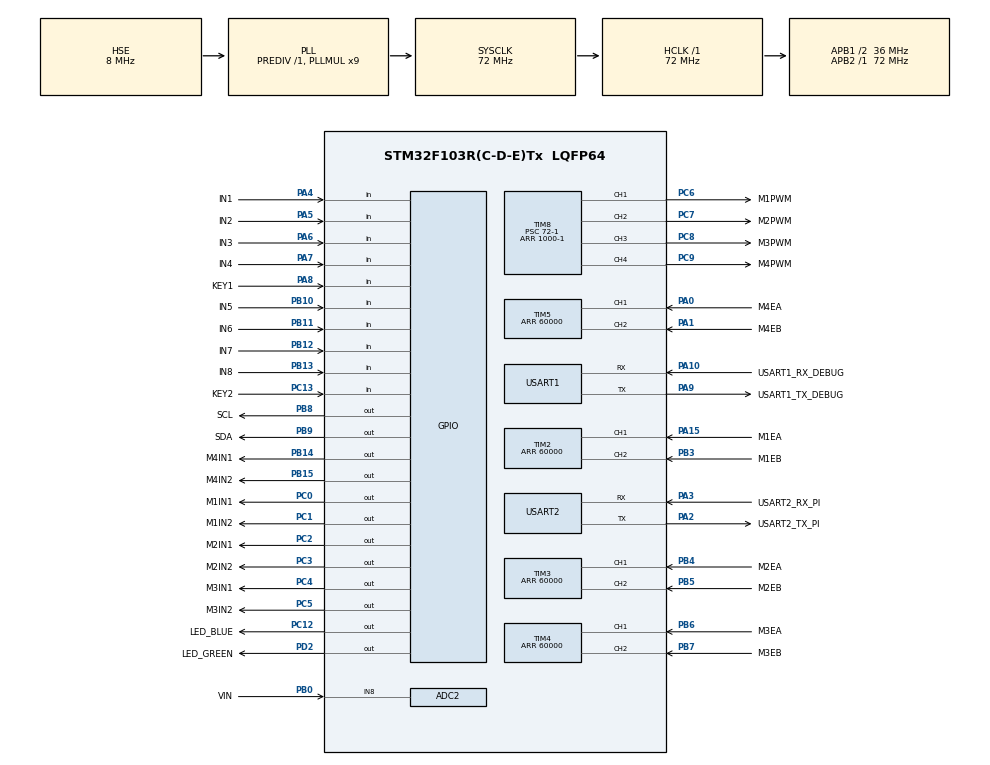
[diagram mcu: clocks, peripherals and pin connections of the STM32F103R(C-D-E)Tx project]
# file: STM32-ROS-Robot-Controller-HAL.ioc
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ADC1.Channel-0\#ChannelRegularConversion=ADC_CHANNEL_VREFINT
ADC1.NbrOfConversionFlag=1
ADC1.Rank-0\#ChannelRegularConversion=1
ADC1.SamplingTime-0\#ChannelRegularConversion=ADC_SAMPLETIME_1CYCLE_5
ADC1.master=1
ADC2.Channel-0\#ChannelRegularConversion=ADC_CHANNEL_8
ADC2.NbrOfConversion=1
ADC2.NbrOfConversionFlag=1
ADC2.Rank-0\#ChannelRegularConversion=1
ADC2.SamplingTime-0\#ChannelRegularConversion=ADC_SAMPLETIME_1CYCLE_5
FREERTOS.MEMORY_ALLOCATION=2
FREERTOS.Tasks01=defaultTask,0,128,StartDefaultTask,Default,NULL,Static,defaultTaskBuffer,defaultTaskControlBlock;KEY,-1,128,key_task,As external,NULL,Dynamic,NULL,NULL;VIN,-1,128,vin_task,As external,NULL,Dynamic,NULL,NULL;PI,2,128,pi_task,As external,NULL,Dynamic,NULL,NULL;MOVE,2,128,move_task,As external,NULL,Dynamic,NULL,NULL;IMU,1,128,imu_task,As external,NULL,Dynamic,NULL,NULL;LED,-1,128,led_task,As external,NULL,Dynamic,NULL,NULL;OTHER,0,128,other_task,As external,NULL,Dynamic,NULL,NULL;CMD,0,128,cmd_task,As external,NULL,Dynamic,NULL,NULL
FREERTOS.configTOTAL_HEAP_SIZE=10000
Mcu.Family=STM32F1
Mcu.Name=STM32F103R(C-D-E)Tx
Mcu.Package=LQFP64
NVIC.PriorityGroup=NVIC_PRIORITYGROUP_4
NVIC.TIM6_IRQn=true\:15\:0\:false\:false\:true\:false\:false\:true\:true
NVIC.TimeBase=TIM6_IRQn
NVIC.TimeBaseIP=TIM6
NVIC.USART1_IRQn=true\:5\:0\:false\:false\:true\:true\:true\:true\:true
NVIC.USART2_IRQn=true\:5\:0\:false\:false\:true\:true\:true\:true\:true
PA0-WKUP.GPIO_Label=M4EA
PA0-WKUP.Signal=S_TIM5_CH1
PA1.GPIO_Label=M4EB
PA1.Signal=S_TIM5_CH2
PA10.GPIO_Label=USART1_RX_DEBUG
PA10.Mode=Asynchronous
PA10.Signal=USART1_RX
PA13.GPIO_Label=SWDIO
PA13.Mode=Serial_Wire
PA13.Signal=SYS_JTMS-SWDIO
PA14.GPIO_Label=SWCLK
PA14.Mode=Serial_Wire
PA14.Signal=SYS_JTCK-SWCLK
PA15.GPIO_Label=M1EA
PA15.Signal=S_TIM2_CH1_ETR
PA2.GPIO_Label=USART2_TX_PI
PA2.Mode=Asynchronous
PA2.Signal=USART2_TX
PA3.GPIO_Label=USART2_RX_PI
PA3.Mode=Asynchronous
PA3.Signal=USART2_RX
PA4.GPIO_Label=IN1
PA4.GPIO_Mode=GPIO_MODE_INPUT
PA4.GPIO_PuPd=GPIO_PULLUP
PA4.Signal=GPIO_Input
PA5.GPIO_Label=IN2
PA5.GPIO_Mode=GPIO_MODE_INPUT
PA5.GPIO_PuPd=GPIO_PULLUP
PA5.Signal=GPIO_Input
PA6.GPIO_Label=IN3
PA6.GPIO_Mode=GPIO_MODE_INPUT
PA6.GPIO_PuPd=GPIO_PULLUP
PA6.Signal=GPIO_Input
PA7.GPIO_Label=IN4
PA7.GPIO_Mode=GPIO_MODE_INPUT
PA7.GPIO_PuPd=GPIO_PULLUP
PA7.Signal=GPIO_Input
PA8.GPIO_Label=KEY1
PA8.GPIO_PuPd=GPIO_PULLUP
PA8.Signal=GPIO_Input
PA9.GPIO_Label=USART1_TX_DEBUG
PA9.Mode=Asynchronous
PA9.Signal=USART1_TX
PB0.GPIO_Label=VIN
PB0.Signal=ADCx_IN8
PB10.GPIO_Label=IN5
PB10.GPIO_Mode=GPIO_MODE_INPUT
PB10.GPIO_PuPd=GPIO_PULLUP
PB10.Signal=GPIO_Input
PB11.GPIO_Label=IN6
PB11.GPIO_Mode=GPIO_MODE_INPUT
PB11.GPIO_PuPd=GPIO_PULLUP
PB11.Signal=GPIO_Input
PB12.GPIO_Label=IN7
PB12.GPIO_Mode=GPIO_MODE_INPUT
PB12.GPIO_PuPd=GPIO_PULLUP
PB12.Signal=GPIO_Input
PB13.GPIO_Label=IN8
PB13.GPIO_Mode=GPIO_MODE_INPUT
PB13.GPIO_PuPd=GPIO_PULLUP
PB13.Signal=GPIO_Input
PB14.GPIO_Label=M4IN1
PB14.GPIO_Speed=GPIO_SPEED_FREQ_HIGH
PB14.Signal=GPIO_Output
PB15.GPIO_Label=M4IN2
PB15.GPIO_Speed=GPIO_SPEED_FREQ_HIGH
PB15.Signal=GPIO_Output
PB3.GPIO_Label=M1EB
PB3.Signal=S_TIM2_CH2
PB4.GPIO_Label=M2EA
PB4.Signal=S_TIM3_CH1
PB5.GPIO_Label=M2EB
PB5.Signal=S_TIM3_CH2
PB6.GPIO_Label=M3EA
PB6.Signal=S_TIM4_CH1
PB7.GPIO_Label=M3EB
PB7.Signal=S_TIM4_CH2
PB8.GPIO_Label=SCL
PB8.GPIO_PuPd=GPIO_PULLUP
PB8.GPIO_Speed=GPIO_SPEED_FREQ_HIGH
PB8.PinState=GPIO_PIN_SET
PB8.Signal=GPIO_Output
PB9.GPIO_Label=SDA
PB9.GPIO_PuPd=GPIO_PULLUP
PB9.GPIO_Speed=GPIO_SPEED_FREQ_HIGH
PB9.PinState=GPIO_PIN_SET
PB9.Signal=GPIO_Output
PC0.GPIO_Label=M1IN1
PC0.GPIO_Speed=GPIO_SPEED_FREQ_HIGH
PC0.Signal=GPIO_Output
PC1.GPIO_Label=M1IN2
PC1.GPIO_Speed=GPIO_SPEED_FREQ_HIGH
PC1.Signal=GPIO_Output
PC12.GPIO_Label=LED_BLUE
PC12.GPIO_Speed=GPIO_SPEED_FREQ_HIGH
PC12.PinState=GPIO_PIN_SET
PC12.Signal=GPIO_Output
PC13-TAMPER-RTC.GPIO_Label=KEY2
PC13-TAMPER-RTC.GPIO_PuPd=GPIO_PULLUP
PC13-TAMPER-RTC.Signal=GPIO_Input
PC2.GPIO_Label=M2IN1
PC2.GPIO_Speed=GPIO_SPEED_FREQ_HIGH
PC2.Signal=GPIO_Output
PC3.GPIO_Label=M2IN2
PC3.GPIO_Speed=GPIO_SPEED_FREQ_HIGH
PC3.Signal=GPIO_Output
PC4.GPIO_Label=M3IN1
PC4.GPIO_Speed=GPIO_SPEED_FREQ_HIGH
PC4.Signal=GPIO_Output
PC5.GPIO_Label=M3IN2
PC5.GPIO_Speed=GPIO_SPEED_FREQ_HIGH
PC5.Signal=GPIO_Output
PC6.GPIO_Label=M1PWM
PC6.GPIO_Speed=GPIO_SPEED_FREQ_HIGH
PC6.Signal=S_TIM8_CH1
PC7.GPIO_Label=M2PWM
PC7.GPIO_Speed=GPIO_SPEED_FREQ_HIGH
PC7.Signal=S_TIM8_CH2
PC8.GPIO_Label=M3PWM
PC8.GPIO_Speed=GPIO_SPEED_FREQ_HIGH
PC8.Signal=S_TIM8_CH3
PC9.GPIO_Label=M4PWM
PC9.GPIO_Speed=GPIO_SPEED_FREQ_HIGH
PC9.Signal=S_TIM8_CH4
PD0-OSC_IN.GPIO_Label=OSCIN
PD0-OSC_IN.Mode=HSE-External-Oscillator
PD0-OSC_IN.Signal=RCC_OSC_IN
PD1-OSC_OUT.GPIO_Label=OSCOUT
PD1-OSC_OUT.Mode=HSE-External-Oscillator
PD1-OSC_OUT.Signal=RCC_OSC_OUT
PD2.GPIO_Label=LED_GREEN
PD2.GPIO_Speed=GPIO_SPEED_FREQ_HIGH
PD2.PinState=GPIO_PIN_SET
PD2.Signal=GPIO_Output
ProjectManager.HeapSize=0x200
ProjectManager.StackSize=0x400
ProjectManager.TargetToolchain=MDK-ARM V5.32
RCC.ADCPresc=RCC_ADCPCLK2_DIV6
RCC.AHBFreq_Value=72000000
RCC.APB1CLKDivider=RCC_HCLK_DIV2
RCC.APB1Freq_Value=36000000
RCC.APB1TimFreq_Value=72000000
RCC.APB2Freq_Value=72000000
RCC.APB2TimFreq_Value=72000000
RCC.HCLKFreq_Value=72000000
RCC.PLLMUL=RCC_PLL_MUL9
RCC.PLLSourceVirtual=RCC_PLLSOURCE_HSE
RCC.SYSCLKFreq_VALUE=72000000
RCC.SYSCLKSource=RCC_SYSCLKSOURCE_PLLCLK
RCC.USBFreq_Value=72000000
SH.ADCx_IN8.0=ADC2_IN8,IN8
SH.S_TIM2_CH1_ETR.0=TIM2_CH1,Encoder_Interface
SH.S_TIM2_CH2.0=TIM2_CH2,Encoder_Interface
SH.S_TIM3_CH1.0=TIM3_CH1,Encoder_Interface
SH.S_TIM3_CH2.0=TIM3_CH2,Encoder_Interface
SH.S_TIM4_CH1.0=TIM4_CH1,Encoder_Interface
SH.S_TIM4_CH2.0=TIM4_CH2,Encoder_Interface
SH.S_TIM5_CH1.0=TIM5_CH1,Encoder_Interface
SH.S_TIM5_CH2.0=TIM5_CH2,Encoder_Interface
SH.S_TIM8_CH1.0=TIM8_CH1,PWM Generation1 CH1
SH.S_TIM8_CH2.0=TIM8_CH2,PWM Generation2 CH2
SH.S_TIM8_CH3.0=TIM8_CH3,PWM Generation3 CH3
SH.S_TIM8_CH4.0=TIM8_CH4,PWM Generation4 CH4
TIM2.AutoReloadPreload=TIM_AUTORELOAD_PRELOAD_DISABLE
TIM2.EncoderMode=TIM_ENCODERMODE_TI12
TIM2.Period=60000
TIM3.EncoderMode=TIM_ENCODERMODE_TI12
TIM3.Period=60000
TIM4.EncoderMode=TIM_ENCODERMODE_TI12
TIM4.Period=60000
TIM5.EncoderMode=TIM_ENCODERMODE_TI12
TIM5.Period=60000
TIM8.Channel-PWM\ Generation1\ CH1=TIM_CHANNEL_1
TIM8.Channel-PWM\ Generation2\ CH2=TIM_CHANNEL_2
TIM8.Channel-PWM\ Generation3\ CH3=TIM_CHANNEL_3
TIM8.Channel-PWM\ Generation4\ CH4=TIM_CHANNEL_4
TIM8.Period=1000-1
TIM8.Prescaler=72-1
USART1.VirtualMode=VM_ASYNC
USART2.VirtualMode=VM_ASYNC
VP_ADC1_TempSens_Input.Mode=IN-TempSens
VP_ADC1_Vref_Input.Mode=IN-Vrefint
VP_FREERTOS_VS_CMSIS_V1.Mode=CMSIS_V1
VP_SYS_VS_tim6.Mode=TIM6
VP_TIM8_VS_ClockSourceINT.Mode=Internal
board=custom

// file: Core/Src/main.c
/* USER CODE BEGIN Header */
/**
  ******************************************************************************
  * @file           : main.c
  * @brief          : Main program body
  ******************************************************************************
  * @attention
  *
  * Copyright (c) 2022 STMicroelectronics.
  * All rights reserved.
  *
  * This software is licensed under terms that can be found in the LICENSE file
  * in the root directory of this software component.
  * If no LICENSE file comes with this software, it is provided AS-IS.
  *
  ******************************************************************************
  */
/* USER CODE END Header */
#include "main.h"
#include "cmsis_os.h"
#include "adc.h"
#include "tim.h"
#include "usart.h"
#include "gpio.h"

/* USER CODE BEGIN Includes */
#include "bsp_imu.h"
#include "bsp_delay.h"
#include "bsp_usart.h"
#include "bsp_vin.h"
#include "bsp_led.h"
#include "bsp_motor.h"
#include "bsp_encoder.h"
#include "bsp_other.h"

#define LOG_TAG    "MAIN"
#include "bsp_log.h"

/* USER CODE END Includes */

void SystemClock_Config(void);
void MX_FREERTOS_Init(void);

int main(void)
{

  /* MCU Configuration--------------------------------------------------------*/

  /* Reset of all peripherals, Initializes the Flash interface and the Systick. */
  HAL_Init();

  /* Configure the system clock */
  SystemClock_Config();

  /* Initialize all configured peripherals */
  MX_GPIO_Init();
  MX_USART1_UART_Init();
  MX_USART2_UART_Init();
  MX_TIM8_Init();
  MX_TIM2_Init();
  MX_TIM3_Init();
  MX_TIM4_Init();
  MX_TIM5_Init();
  MX_ADC2_Init();
  MX_ADC1_Init();
  /* USER CODE BEGIN 2 */
	Buddha_Bless();
//	Delay_Init();
	Log_Init();
	Motor_Init();
	Encoder_Init();
	USART_Init();

  /* USER CODE END 2 */

  /* Call init function for freertos objects (in freertos.c) */
  MX_FREERTOS_Init();

  /* Start scheduler */
  osKernelStart();

  /* We should never get here as control is now taken by the scheduler */
  /* Infinite loop */
  while (1)
  {

  }
}

void SystemClock_Config(void)
{
  RCC_OscInitTypeDef RCC_OscInitStruct = {0};
  RCC_ClkInitTypeDef RCC_ClkInitStruct = {0};
  RCC_PeriphCLKInitTypeDef PeriphClkInit = {0};

  /** Initializes the RCC Oscillators according to the specified parameters
  * in the RCC_OscInitTypeDef structure.
  */
  RCC_OscInitStruct.OscillatorType = RCC_OSCILLATORTYPE_HSE;
  RCC_OscInitStruct.HSEState = RCC_HSE_ON;
  RCC_OscInitStruct.HSEPredivValue = RCC_HSE_PREDIV_DIV1;
  RCC_OscInitStruct.HSIState = RCC_HSI_ON;
  RCC_OscInitStruct.PLL.PLLState = RCC_PLL_ON;
  RCC_OscInitStruct.PLL.PLLSource = RCC_PLLSOURCE_HSE;
  RCC_OscInitStruct.PLL.PLLMUL = RCC_PLL_MUL9;
  if (HAL_RCC_OscConfig(&RCC_OscInitStruct) != HAL_OK)
  {
    Error_Handler();
  }

  /** Initializes the CPU, AHB and APB buses clocks
  */
  RCC_ClkInitStruct.ClockType = RCC_CLOCKTYPE_HCLK|RCC_CLOCKTYPE_SYSCLK
                              |RCC_CLOCKTYPE_PCLK1|RCC_CLOCKTYPE_PCLK2;
  RCC_ClkInitStruct.SYSCLKSource = RCC_SYSCLKSOURCE_PLLCLK;
  RCC_ClkInitStruct.AHBCLKDivider = RCC_SYSCLK_DIV1;
  RCC_ClkInitStruct.APB1CLKDivider = RCC_HCLK_DIV2;
  RCC_ClkInitStruct.APB2CLKDivider = RCC_HCLK_DIV1;

  if (HAL_RCC_ClockConfig(&RCC_ClkInitStruct, FLASH_LATENCY_2) != HAL_OK)
  {
    Error_Handler();
  }
  PeriphClkInit.PeriphClockSelection = RCC_PERIPHCLK_ADC;
  PeriphClkInit.AdcClockSelection = RCC_ADCPCLK2_DIV6;
  if (HAL_RCCEx_PeriphCLKConfig(&PeriphClkInit) != HAL_OK)
  {
    Error_Handler();
  }
}

void HAL_TIM_PeriodElapsedCallback(TIM_HandleTypeDef *htim)
{
  if (htim->Instance == TIM6) {
    HAL_IncTick();
  }
}

void Error_Handler(void)
{
  __disable_irq();
  while (1)
  {
  }
}

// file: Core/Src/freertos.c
/* USER CODE BEGIN Header */
/**
  ******************************************************************************
  * File Name          : freertos.c
  * Description        : Code for freertos applications
  ******************************************************************************
  * @attention
  *
  * Copyright (c) 2022 STMicroelectronics.
  * All rights reserved.
  *
  * This software is licensed under terms that can be found in the LICENSE file
  * in the root directory of this software component.
  * If no LICENSE file comes with this software, it is provided AS-IS.
  *
  ******************************************************************************
  */
/* USER CODE END Header */

#include "FreeRTOS.h"
#include "task.h"
#include "main.h"
#include "cmsis_os.h"

osThreadId defaultTaskHandle;
uint32_t defaultTaskBuffer[ 128 ];
osStaticThreadDef_t defaultTaskControlBlock;
osThreadId KEYHandle;
osThreadId VINHandle;
osThreadId PIHandle;
osThreadId MOVEHandle;
osThreadId IMUHandle;
osThreadId LEDHandle;
osThreadId OTHERHandle;
osThreadId CMDHandle;

void StartDefaultTask(void const * argument);
extern void key_task(void const * argument);
extern void vin_task(void const * argument);
extern void pi_task(void const * argument);
extern void move_task(void const * argument);
extern void imu_task(void const * argument);
extern void led_task(void const * argument);
extern void other_task(void const * argument);
extern void cmd_task(void const * argument);

void MX_FREERTOS_Init(void); /* (MISRA C 2004 rule 8.1) */

/* GetIdleTaskMemory prototype (linked to static allocation support) */
void vApplicationGetIdleTaskMemory( StaticTask_t **ppxIdleTaskTCBBuffer, StackType_t **ppxIdleTaskStackBuffer, uint32_t *pulIdleTaskStackSize );

/* USER CODE BEGIN GET_IDLE_TASK_MEMORY */
static StaticTask_t xIdleTaskTCBBuffer;
static StackType_t xIdleStack[configMINIMAL_STACK_SIZE];

void vApplicationGetIdleTaskMemory( StaticTask_t **ppxIdleTaskTCBBuffer, StackType_t **ppxIdleTaskStackBuffer, uint32_t *pulIdleTaskStackSize )
{
  *ppxIdleTaskTCBBuffer = &xIdleTaskTCBBuffer;
  *ppxIdleTaskStackBuffer = &xIdleStack[0];
  *pulIdleTaskStackSize = configMINIMAL_STACK_SIZE;
  /* place for user code */
}
/* USER CODE END GET_IDLE_TASK_MEMORY */

void MX_FREERTOS_Init(void) {

  /* Create the thread(s) */
  /* definition and creation of defaultTask */
  osThreadStaticDef(defaultTask, StartDefaultTask, osPriorityNormal, 0, 128, defaultTaskBuffer, &defaultTaskControlBlock);
  defaultTaskHandle = osThreadCreate(osThread(defaultTask), NULL);

  /* definition and creation of KEY */
  osThreadDef(KEY, key_task, osPriorityBelowNormal, 0, 128);
  KEYHandle = osThreadCreate(osThread(KEY), NULL);

  /* definition and creation of VIN */
  osThreadDef(VIN, vin_task, osPriorityBelowNormal, 0, 128);
  VINHandle = osThreadCreate(osThread(VIN), NULL);

  /* definition and creation of PI */
  osThreadDef(PI, pi_task, osPriorityHigh, 0, 128);
  PIHandle = osThreadCreate(osThread(PI), NULL);

  /* definition and creation of MOVE */
  osThreadDef(MOVE, move_task, osPriorityHigh, 0, 128);
  MOVEHandle = osThreadCreate(osThread(MOVE), NULL);

  /* definition and creation of IMU */
  osThreadDef(IMU, imu_task, osPriorityAboveNormal, 0, 128);
  IMUHandle = osThreadCreate(osThread(IMU), NULL);

  /* definition and creation of LED */
  osThreadDef(LED, led_task, osPriorityBelowNormal, 0, 128);
  LEDHandle = osThreadCreate(osThread(LED), NULL);

  /* definition and creation of OTHER */
  osThreadDef(OTHER, other_task, osPriorityNormal, 0, 128);
  OTHERHandle = osThreadCreate(osThread(OTHER), NULL);

  /* definition and creation of CMD */
  osThreadDef(CMD, cmd_task, osPriorityNormal, 0, 128);
  CMDHandle = osThreadCreate(osThread(CMD), NULL);

}

void StartDefaultTask(void const * argument)
{
  for(;;)
  {
    osDelay(1);
  }
}
